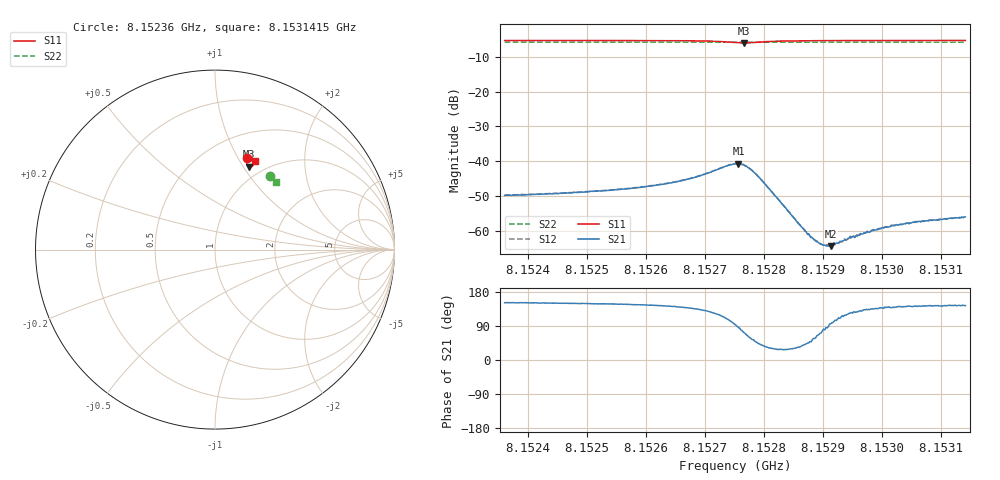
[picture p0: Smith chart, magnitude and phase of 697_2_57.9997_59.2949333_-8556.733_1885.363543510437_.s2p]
#  HZ  S  RI  R  50.00
! Rohde & Schwarz Vector Network Analyzer
! Rohde-Schwarz,ZNB20-2Port,1311601062101988,3.16
! Created: UTC 3/21/2024, 1:21:37 AM
! freq[Hz]  re:S11  im:S11  re:S21  im:S21  re:S12  im:S12  re:S22  im:S22
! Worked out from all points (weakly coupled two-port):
!   401 points, 8.15236 GHz to 8.1531415 GHz, reference 50 ohm
!   highest |S21| = -40.71 dB at 8.1527566 GHz (marker M1); lowest = -64.4 dB at 8.1529129 GHz (marker M2)
!   lowest |S11| = -6.0 dB at 8.1527664 GHz (marker M3), VSWR 2.99, Z = 43 + j52.9 ohm
!   |S11| at or under -10 dB: nowhere
!   |S22| runs from -5.9 to -5.8 dB; largest |S21 - S12| = 0.00031
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8.15236002e9  0.1808 0.5093  -0.0028 0.00155  -0.00283 0.0016  0.3039 0.4113
8.15249093e9  0.191 0.5055  -0.00308 0.00181  -0.00305 0.0019  0.3105 0.4062
8.15256908e9  0.198 0.5022  -0.00336 0.00221  -0.00338 0.00227  0.3145 0.403
8.15262183e9  0.2035 0.499  -0.00368 0.00271  -0.00366 0.00279  0.3172 0.4006
8.15265113e9  0.207 0.4961  -0.00389 0.00318  -0.0039 0.00328  0.3185 0.3994
8.1526863e9  0.2118 0.4906  -0.00416 0.00426  -0.00415 0.00439  0.3202 0.3976
8.1527371e9  0.2119 0.4691  -0.00275 0.00808  -0.0026 0.00819  0.3223 0.395
8.15275078e9  0.2033 0.4615  -0.000602 0.00912  -0.000422 0.00915  0.3225 0.3943
8.15275664e9  0.1975 0.46  0.000706 0.00919  0.000791 0.00914  0.3226 0.3942
8.1527664e9  0.1874 0.4618  0.00272 0.00829  0.0028 0.00831  0.3227 0.394
8.15277813e9  0.1788 0.47  0.0042 0.00629  0.00427 0.00621  0.3231 0.3939
8.1527918e9  0.1768 0.481  0.0043 0.00392  0.00433 0.00389  0.3238 0.3937
8.15286018e9  0.1939 0.4986  0.00101 0.000688  0.00101 0.000689  0.3279 0.3916
8.15288168e9  0.1979 0.499  0.000488 0.000634  0.000493 0.000637  0.3289 0.3904
8.15289926e9  0.2007 0.4991  0.000133 0.000611  0.000147 0.000609  0.3297 0.3897
8.15291294e9  0.2026 0.4989  -6.1e-05 0.000596  -5.14e-05 0.000624  0.3307 0.3891
8.15292466e9  0.2041 0.4987  -0.000203 0.000628  -0.000193 0.000634  0.3312 0.3887
8.1529481e9  0.2067 0.4981  -0.000469 0.000659  -0.000457 0.000651  0.3324 0.3877
8.15297936e9  0.2099 0.4974  -0.000645 0.000691  -0.000677 0.000707  0.3336 0.3864
8.15301258e9  0.2131 0.4966  -0.000867 0.000737  -0.000864 0.00078  0.3354 0.3849
8.15305947e9  0.2171 0.4952  -0.00105 0.000839  -0.00103 0.000846  0.3378 0.3829
8.15314152e9  0.2234 0.4928  -0.00127 0.000936  -0.00126 0.000925  0.3416 0.3792
